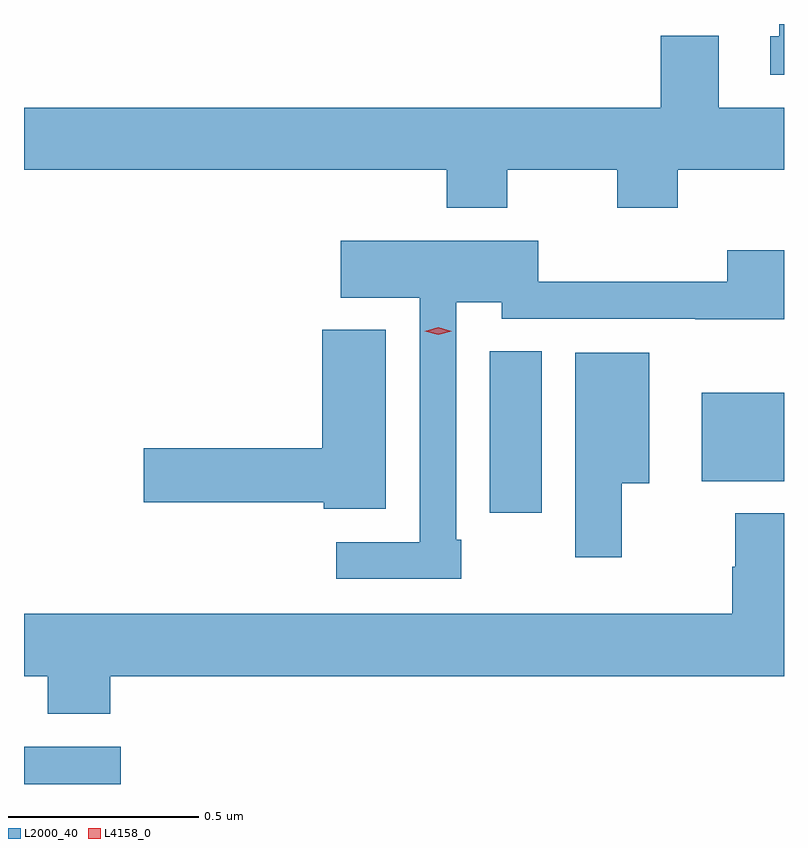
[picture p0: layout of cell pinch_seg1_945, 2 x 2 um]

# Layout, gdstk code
import gdstk
lib = gdstk.Library(unit=1e-6, precision=1e-09)
def R(c, l, rs):  # rectangles x0, y0, x1, y1
    for r in rs: c.add(gdstk.rectangle(r[:2], r[2:], *l))
def P(c, l, *ps):  # polygons
    for p in ps: c.add(gdstk.Polygon(p, *l))
L2000_40 = (2000, 40)
L4158_0 = (4158, 0)

pinch_seg1_945 = lib.new_cell('pinch_seg1_945')
R(pinch_seg1_945, L2000_40, [(268.251,546.12,268.505,546.218), (269.477,546.834,269.614,547.259), (270.035,546.917,270.251,547.15)])
P(pinch_seg1_945, L2000_40, [(270.251,548.12),(270.239,548.12),(270.239,548.088),(270.215,548.088),(270.215,547.986),(270.251,547.986)],
  [(269.523,547.736),(269.812,547.736),(269.812,547.637),(269.972,547.637),(269.972,547.736),(270.251,547.736),(270.251,547.9),(270.079,547.9),(270.079,548.089),(269.927,548.089),(269.927,547.9),(268.251,547.9),(268.251,547.736),(269.363,547.736),(269.363,547.637),(269.523,547.637)],
  [(269.401,546.763),(269.388,546.763),(269.388,547.388),(269.508,547.388),(269.508,547.344),(270.017,547.344),(270.017,547.343),(270.251,547.343),(270.251,547.525),(270.101,547.525),(270.101,547.442),(269.604,547.442),(269.604,547.549),(269.085,547.549),(269.085,547.4),(269.292,547.4),(269.292,546.756),(269.073,546.756),(269.073,546.66),(269.401,546.66)],
  [(269.203,547.315),(269.036,547.315),(269.036,547.004),(268.566,547.004),(268.566,546.862),(269.04,546.862),(269.04,546.845),(269.203,546.845)],
  [(269.824,546.911),(269.896,546.911),(269.896,547.255),(269.702,547.255),(269.702,546.717),(269.824,546.717)],
  [(270.251,546.832),(270.123,546.832),(270.123,546.692),(270.115,546.692),(270.115,546.568),(268.251,546.568),(268.251,546.404),(268.313,546.404),(268.313,546.305),(268.478,546.305),(268.478,546.404),(270.251,546.404)])
P(pinch_seg1_945, L4158_0, [(269.341,547.302),(269.306,547.312),(269.306,547.312),(269.306,547.312),(269.341,547.322),(269.376,547.312),(269.376,547.312),(269.376,547.312)])

lib.write_gds('pinch_seg1_945.gds')
